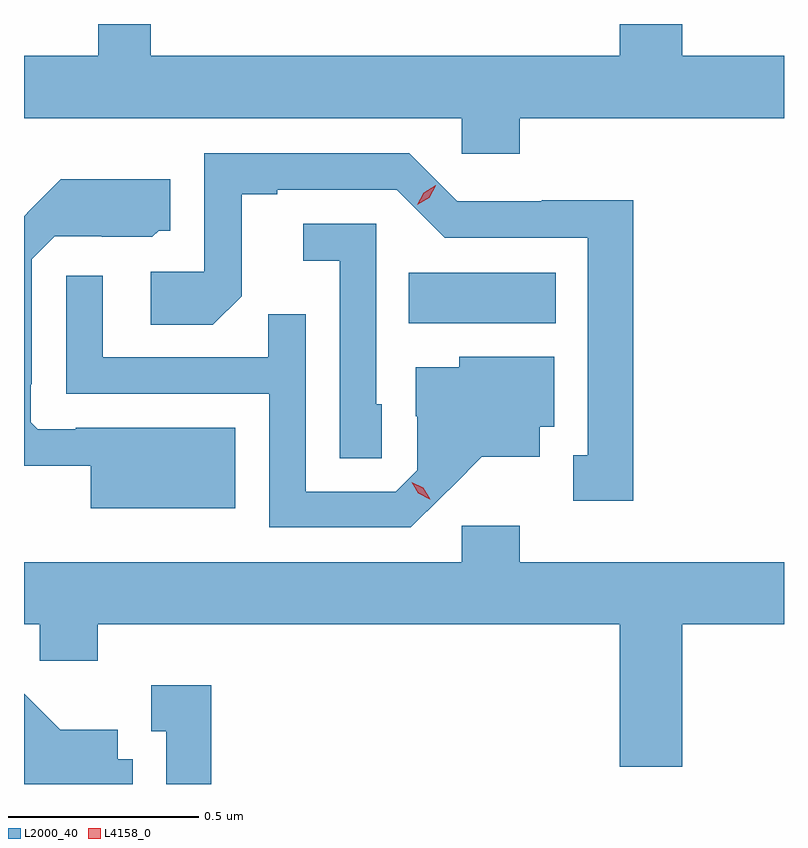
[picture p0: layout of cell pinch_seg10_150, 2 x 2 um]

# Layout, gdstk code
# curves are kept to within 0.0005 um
import gdstk
lib = gdstk.Library(unit=1e-6, precision=1e-09)
def R(c, l, rs):  # rectangles x0, y0, x1, y1
    for r in rs: c.add(gdstk.rectangle(r[:2], r[2:], *l))
def P(c, l, *ps):  # polygons
    for p in ps: c.add(gdstk.Polygon(p, *l))
L2000_40 = (2000, 40)
L4158_0 = (4158, 0)

pinch_seg10_150 = lib.new_cell('pinch_seg10_150')
R(pinch_seg10_150, L2000_40, [(727.888,1285.124,728.275,1285.258)])
P(pinch_seg10_150, L2000_40, [(728.18,1285.664),(728.876,1285.664),(728.876,1285.828),(728.608,1285.828),(728.608,1285.912),(728.444,1285.912),(728.444,1285.828),(727.21,1285.828),(727.21,1285.912),(727.071,1285.912),(727.071,1285.828),(726.876,1285.828),(726.876,1285.664),(728.028,1285.664),(728.028,1285.571),(728.18,1285.571)],
  [(728.479,1285.448),(728.238,1285.448),(728.238,1285.446),(728.016,1285.446),(727.89,1285.572),(727.35,1285.572),(727.35,1285.26),(727.209,1285.26),(727.209,1285.12),(727.373,1285.12),(727.449,1285.196),(727.449,1285.464),(727.543,1285.464),(727.543,1285.476),(727.857,1285.476),(727.983,1285.35),(728.36,1285.35),(728.36,1284.777),(728.321,1284.777),(728.321,1284.657),(728.479,1284.657)],
  [(727.432,1284.85),(727.012,1284.85),(727.012,1284.846),(726.912,1284.846),(726.894,1284.864),(726.894,1284.964),(726.897,1284.964),(726.897,1285.293),(726.957,1285.353),(727.08,1285.353),(727.08,1285.352),(727.214,1285.352),(727.23,1285.368),(727.261,1285.368),(727.261,1285.504),(726.973,1285.504),(726.876,1285.406),(726.876,1284.749),(727.052,1284.749),(727.052,1284.638),(727.432,1284.638)],
  [(727.818,1284.912),(727.803,1284.912),(727.803,1285.386),(727.611,1285.386),(727.611,1285.289),(727.707,1285.289),(727.707,1284.769),(727.818,1284.769)],
  [(727.978,1284.671),(728.005,1284.697),(728.081,1284.773),(728.233,1284.773),(728.233,1284.852),(728.272,1284.852),(728.272,1285.036),(728.022,1285.036),(728.022,1285.009),(727.907,1285.009),(727.907,1284.88),(727.911,1284.88),(727.911,1284.738),(727.854,1284.681),(727.617,1284.681),(727.617,1285.148),(727.519,1285.148),(727.519,1285.035),(727.083,1285.035),(727.083,1285.249),(726.987,1285.249),(726.987,1284.939),(727.521,1284.939),(727.521,1284.588),(727.894,1284.588)],
  [(728.608,1284.332),(728.876,1284.332),(728.876,1284.496),(728.18,1284.496),(728.18,1284.592),(728.028,1284.592),(728.028,1284.496),(726.876,1284.496),(726.876,1284.332),(726.918,1284.332),(726.918,1284.237),(727.07,1284.237),(727.07,1284.332),(728.444,1284.332),(728.444,1283.958),(728.608,1283.958)],
  [(727.369,1284.172),(727.211,1284.172),(727.211,1284.051),(727.25,1284.051),(727.25,1283.912),(727.369,1283.912)],
  [(727.162,1283.977),(727.123,1283.977),(727.123,1284.055),(726.971,1284.055),(726.876,1284.149),(726.876,1283.912),(727.162,1283.912)])
P(pinch_seg10_150, L4158_0, [(727.911,1285.436),(727.911,1285.436),(727.928,1285.468),(727.96,1285.488),(727.96,1285.488),(727.96,1285.487),(727.943,1285.455),(727.911,1285.436)],
  [(727.944,1284.662),(727.913,1284.677),(727.896,1284.706),(727.896,1284.706),(727.896,1284.706),(727.927,1284.692),(727.945,1284.662),(727.945,1284.662)])

lib.write_gds('pinch_seg10_150.gds')
